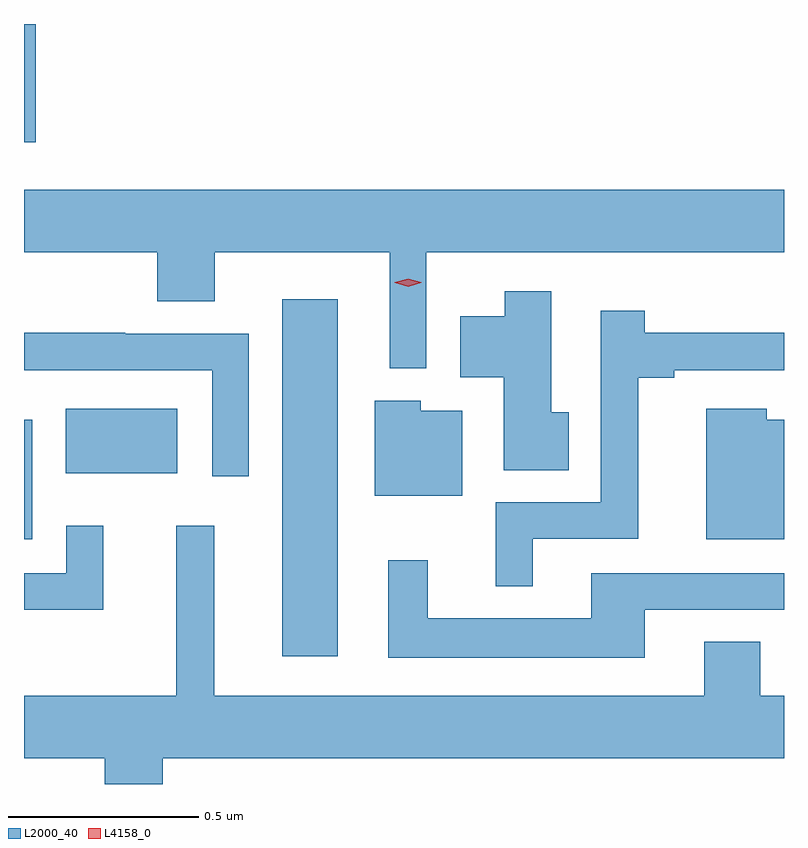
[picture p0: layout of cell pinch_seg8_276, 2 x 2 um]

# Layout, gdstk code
import gdstk
lib = gdstk.Library(unit=1e-6, precision=1e-09)
def R(c, l, rs):  # rectangles x0, y0, x1, y1
    for r in rs: c.add(gdstk.rectangle(r[:2], r[2:], *l))
def P(c, l, *ps):  # polygons
    for p in ps: c.add(gdstk.Polygon(p, *l))
L2000_40 = (2000, 40)
L4158_0 = (4158, 0)

pinch_seg8_276 = lib.new_cell('pinch_seg8_276')
R(pinch_seg8_276, L2000_40, [(516.986,1156.728,517.132,1157.668), (516.306,1157.036,516.328,1157.35), (516.416,1157.21,516.709,1157.38), (516.306,1158.081,516.337,1158.392)])
P(pinch_seg8_276, L2000_40, [(517.365,1157.792),(518.306,1157.792),(518.306,1157.956),(516.306,1157.956),(516.306,1157.792),(516.656,1157.792),(516.656,1157.662),(516.808,1157.662),(516.808,1157.792),(517.268,1157.792),(517.268,1157.486),(517.365,1157.486)],
  [(517.739,1157.37),(517.693,1157.37),(517.693,1157.689),(517.571,1157.689),(517.571,1157.623),(517.454,1157.623),(517.454,1157.462),(517.568,1157.462),(517.568,1157.218),(517.739,1157.218)],
  [(517.645,1157.037),(517.922,1157.037),(517.922,1157.461),(518.017,1157.461),(518.017,1157.481),(518.306,1157.481),(518.306,1157.579),(517.94,1157.579),(517.94,1157.638),(517.824,1157.638),(517.824,1157.133),(517.547,1157.133),(517.547,1156.913),(517.645,1156.913)],
  [(516.897,1157.577),(516.572,1157.577),(516.572,1157.579),(516.306,1157.579),(516.306,1157.481),(516.801,1157.481),(516.801,1157.202),(516.897,1157.202)],
  [(517.459,1157.374),(517.35,1157.374),(517.35,1157.401),(517.229,1157.401),(517.229,1157.15),(517.459,1157.15)],
  [(518.306,1157.35),(518.26,1157.35),(518.26,1157.38),(518.102,1157.38),(518.102,1157.036),(518.306,1157.036)],
  [(516.671,1156.46),(518.306,1156.46),(518.306,1156.624),(518.244,1156.624),(518.244,1156.766),(518.096,1156.766),(518.096,1156.624),(516.806,1156.624),(516.806,1157.071),(516.707,1157.071),(516.707,1156.624),(516.306,1156.624),(516.306,1156.46),(516.518,1156.46),(516.518,1156.392),(516.671,1156.392)],
  [(516.515,1157.071),(516.417,1157.071),(516.417,1156.947),(516.306,1156.947),(516.306,1156.851),(516.515,1156.851)],
  [(517.939,1156.851),(518.306,1156.851),(518.306,1156.947),(517.799,1156.947),(517.799,1156.828),(517.369,1156.828),(517.369,1156.981),(517.265,1156.981),(517.265,1156.724),(517.939,1156.724)])
P(pinch_seg8_276, L4158_0, [(517.317,1157.701),(517.282,1157.711),(517.281,1157.711),(517.282,1157.712),(517.317,1157.721),(517.352,1157.712),(517.352,1157.711),(517.352,1157.711)])

lib.write_gds('pinch_seg8_276.gds')
